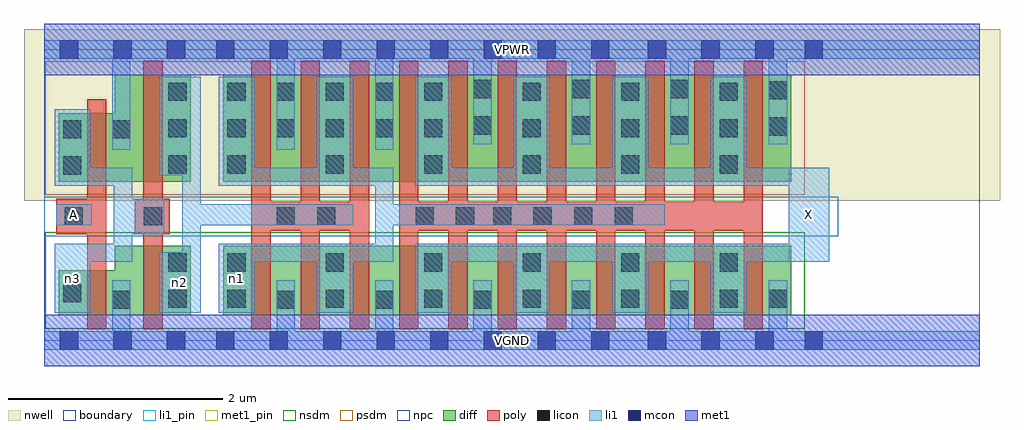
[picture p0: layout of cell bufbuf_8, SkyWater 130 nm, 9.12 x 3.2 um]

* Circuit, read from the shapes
.subckt bufbuf_8 A VGND VPWR X n1 n2 n3
XM1 VGND A n3 VSUBS sky130_fd_pr__nfet_01v8 w=0.42 l=0.18
XM2 n2 n3 VGND VSUBS sky130_fd_pr__nfet_01v8 w=0.65 l=0.18
XM3 VGND n2 n1 VSUBS sky130_fd_pr__nfet_01v8 w=0.65 l=0.18 m=3
XM4 X n1 VGND VSUBS sky130_fd_pr__nfet_01v8 w=0.65 l=0.18 m=8
XM5 VPWR A n3 n4 sky130_fd_pr__pfet_01v8 w=0.64 l=0.18
XM6 n2 n3 VPWR n4 sky130_fd_pr__pfet_01v8 w=1 l=0.18
XM7 VPWR n2 n1 n4 sky130_fd_pr__pfet_01v8 w=1 l=0.18 m=3
XM8 X n1 VPWR n4 sky130_fd_pr__pfet_01v8 w=1 l=0.18 m=8
.ends

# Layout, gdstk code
import gdstk
lib = gdstk.Library(unit=1e-6, precision=1e-09)
def R(c, l, rs):  # rectangles x0, y0, x1, y1
    for r in rs: c.add(gdstk.rectangle(r[:2], r[2:], *l))
def A(c, l, x, y, w, h, nx, ny, dx, dy):  # array of equal rectangles
    R(c, l, [(x+i*dx, y+j*dy, x+i*dx+w, y+j*dy+h) for i in range(nx) for j in range(ny)])
nwell = (64, 20)
diff = (65, 20)
poly = (66, 20)
licon = (66, 44)
li1_pin = (67, 16)
li1 = (67, 20)
mcon = (67, 44)
met1_pin = (68, 16)
met1 = (68, 20)
nsdm = (93, 44)
psdm = (94, 20)
npc = (95, 20)
boundary = (235, 4)

bufbuf_8 = lib.new_cell('bufbuf_8')
R(bufbuf_8, nwell, [(-0.19,1.305,8.93,2.91), (0,1.305,8.74,2.91)])
R(bufbuf_8, diff, [(0.135,0.235,1.37,0.655), (0.66,0.235,1.37,0.885), (1.67,0.235,6.98,0.885), (0.135,1.485,1.37,2.125), (0.66,1.485,1.37,2.485), (1.67,1.485,6.98,2.485)])
A(bufbuf_8, poly, 1.935, 0.105, 0.18, 2.51, 11, 1, 0.46, 0)
R(bufbuf_8, poly, [(0.4,0.105,0.58,2.255), (0.925,0.105,1.105,2.615), (0.11,0.995,0.58,1.325), (0.845,0.995,1.17,1.325), (1.935,1.025,3.035,1.295), (3.315,1.025,6.715,1.295)])
A(bufbuf_8, licon, 2.17, 0.295, 0.17, 0.17, 5, 1, 0.92, 0)
A(bufbuf_8, licon, 1.71, 0.305, 0.17, 0.17, 6, 2, 0.92, 0.34)
A(bufbuf_8, licon, 4.57, 1.075, 0.17, 0.17, 3, 1, 0.38, 0)
A(bufbuf_8, licon, 1.16, 1.56, 0.17, 0.17, 1, 3, 0, 0.34)
A(bufbuf_8, licon, 1.71, 1.56, 0.17, 0.17, 6, 1, 0.92, 0)
A(bufbuf_8, licon, 1.71, 1.9, 0.17, 0.17, 5, 2, 0.46, 0.34)
A(bufbuf_8, licon, 4.47, 1.9, 0.17, 0.17, 3, 2, 0.92, 0.34)
A(bufbuf_8, licon, 4.01, 1.925, 0.17, 0.17, 3, 2, 0.92, 0.34)
R(bufbuf_8, licon, [(0.635,0.295,0.805,0.465), (1.16,0.305,1.33,0.475), (6.77,0.305,6.94,0.475), (0.175,0.36,0.345,0.53), (1.16,0.645,1.33,0.815), (0.19,1.075,0.36,1.245), (0.93,1.075,1.1,1.245), (2.17,1.075,2.34,1.245), (2.55,1.075,2.72,1.245), (3.47,1.075,3.64,1.245), (3.845,1.075,4.015,1.245), (4.195,1.075,4.365,1.245), (0.175,1.55,0.345,1.72), (0.175,1.89,0.345,2.06), (0.635,1.89,0.805,2.06), (6.77,1.915,6.94,2.085), (6.77,2.255,6.94,2.425)])
R(bufbuf_8, li1_pin, [(6.955,0.735,7.335,1.615), (0.11,1.075,0.445,1.275)])
A(bufbuf_8, li1, 2.17, -0.085, 0.17, 0.65, 6, 1, 0.92, 0)
A(bufbuf_8, li1, 2.545, 0.26, 0.34, 0.645, 5, 1, 0.92, 0)
A(bufbuf_8, li1, 2.545, 1.445, 0.34, 1.02, 5, 1, 0.92, 0)
A(bufbuf_8, li1, 4.01, 1.835, 0.17, 0.97, 4, 1, 0.92, 0)
R(bufbuf_8, li1, [(0,-0.085,8.74,0.085), (0.635,-0.085,0.805,0.565), (0.095,0.26,0.43,0.905), (1.075,0.26,1.46,0.825), (1.29,0.26,1.46,2.465), (1.63,0.26,1.965,0.905), (0.095,0.735,0.82,0.905), (0.65,0.735,0.82,1.615), (1.63,0.735,3.26,0.905), (3.09,0.735,3.26,1.615), (3.465,0.735,7.335,0.905), (6.955,0.735,7.335,1.615), (0.65,0.995,1.12,1.325), (0.11,1.075,0.445,1.275), (1.29,1.075,2.885,1.275), (3.09,1.075,5.795,1.275), (0.095,1.445,0.82,1.615), (0.095,1.445,0.43,2.16), (1.63,1.445,3.26,1.615), (1.63,1.445,1.965,2.465), (3.465,1.445,7.335,1.615), (1.075,1.545,1.46,2.465), (0.635,1.785,0.805,2.805), (2.17,1.785,2.34,2.805), (3.09,1.785,3.26,2.805), (0,2.635,8.74,2.805)])
A(bufbuf_8, mcon, 0.145, -0.085, 0.17, 0.17, 3, 2, 0.5, 2.72)
A(bufbuf_8, mcon, 1.605, -0.085, 0.17, 0.17, 6, 2, 0.5, 2.72)
R(bufbuf_8, mcon, [(4.61,-0.085,4.78,0.085), (5.11,-0.085,5.28,0.085), (5.64,-0.085,5.81,0.085), (6.14,-0.085,6.31,0.085), (6.645,-0.085,6.815,0.085), (7.105,-0.085,7.275,0.085), (4.61,2.635,4.78,2.805), (5.11,2.635,5.28,2.805), (5.64,2.635,5.81,2.805), (6.14,2.635,6.31,2.805), (6.645,2.635,6.815,2.805), (7.105,2.635,7.275,2.805)])
R(bufbuf_8, met1_pin, [(0,-0.24,8.74,0.24), (0,2.48,8.74,2.96)])
R(bufbuf_8, met1, [(0,-0.24,8.74,0.24), (0,2.48,8.74,2.96)])
R(bufbuf_8, nsdm, [(0.01,0.11,7.105,1.01)])
R(bufbuf_8, psdm, [(0.01,1.36,7.105,2.61)])
R(bufbuf_8, npc, [(0,0.975,7.42,1.345)])
R(bufbuf_8, boundary, [(0,0,8.74,2.72)])
bufbuf_8.add(gdstk.Label('A', (0.277,1.175), layer=67, texttype=5))
bufbuf_8.add(gdstk.Label('X', (7.145,1.175), layer=67, texttype=5))
bufbuf_8.add(gdstk.Label('n3', (0.262,0.582), layer=67, texttype=5))
bufbuf_8.add(gdstk.Label('n2', (1.267,0.542), layer=67, texttype=5))
bufbuf_8.add(gdstk.Label('n1', (1.797,0.582), layer=67, texttype=5))
bufbuf_8.add(gdstk.Label('VPWR', (4.37,2.72), layer=68, texttype=5))
bufbuf_8.add(gdstk.Label('VGND', (4.37,0), layer=68, texttype=5))
bufbuf_8.add(gdstk.Label('A', (0.277,1.175), layer=67, texttype=16))
bufbuf_8.add(gdstk.Label('X', (7.145,1.175), layer=67, texttype=16))
bufbuf_8.add(gdstk.Label('VPWR', (4.37,2.72), layer=68, texttype=16))
bufbuf_8.add(gdstk.Label('VGND', (4.37,0), layer=68, texttype=16))

lib.write_gds('bufbuf_8.gds')
